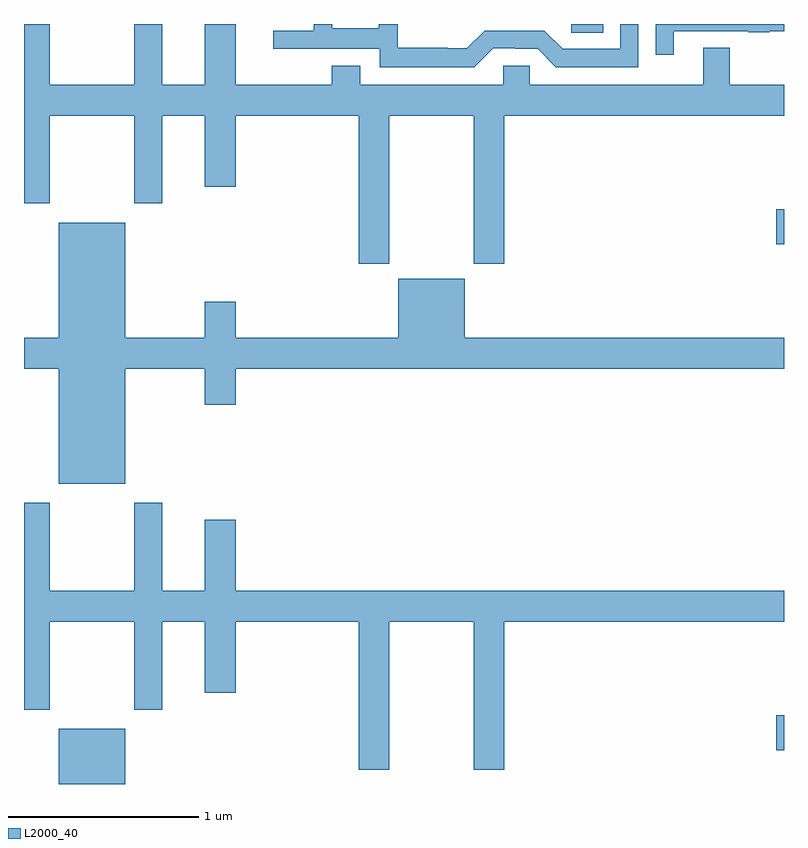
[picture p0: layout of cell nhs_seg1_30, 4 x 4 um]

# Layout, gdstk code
import gdstk
lib = gdstk.Library(unit=1e-6, precision=1e-09)
def R(c, l, rs):  # rectangles x0, y0, x1, y1
    for r in rs: c.add(gdstk.rectangle(r[:2], r[2:], *l))
def P(c, l, *ps):  # polygons
    for p in ps: c.add(gdstk.Polygon(p, *l))
L2000_40 = (2000, 40)

nhs_seg1_30 = lib.new_cell('nhs_seg1_30')
R(nhs_seg1_30, L2000_40, [(111.182,564.199,111.532,564.49), (114.96,564.377,115,564.56), (114.96,567.041,115,567.224), (113.88,568.153,114.048,568.199)])
P(nhs_seg1_30, L2000_40, [(113.469,568.071),(113.585,568.071),(113.585,568.068),(113.703,568.068),(113.799,567.972),(114.234,567.972),(114.234,568.199),(114.138,568.199),(114.138,568.068),(113.835,568.068),(113.739,568.164),(113.424,568.164),(113.331,568.071),(113.231,568.071),(113.231,568.075),(112.968,568.075),(112.968,568.199),(112.867,568.199),(112.867,568.177),(112.623,568.177),(112.623,568.199),(112.524,568.199),(112.524,568.164),(112.311,568.164),(112.311,568.068),(112.872,568.068),(112.872,567.971),(113.369,567.971)],
  [(112.923,567.716),(113.368,567.716),(113.368,566.937),(113.528,566.937),(113.528,567.716),(115,567.716),(115,567.88),(114.715,567.88),(114.715,568.075),(114.575,568.075),(114.575,567.88),(113.661,567.88),(113.661,567.978),(113.523,567.978),(113.523,567.88),(112.771,567.88),(112.771,567.979),(112.619,567.979),(112.619,567.88),(112.114,567.88),(112.114,568.199),(111.95,568.199),(111.95,567.88),(111.727,567.88),(111.727,568.199),(111.58,568.199),(111.58,567.88),(111.135,567.88),(111.135,568.199),(111,568.199),(111,567.255),(111.135,567.255),(111.135,567.716),(111.58,567.716),(111.58,567.255),(111.727,567.255),(111.727,567.716),(111.95,567.716),(111.95,567.342),(112.114,567.342),(112.114,567.716),(112.763,567.716),(112.763,566.937),(112.923,566.937)],
  [(114.421,568.161),(114.811,568.161),(114.811,568.156),(114.923,568.156),(114.923,568.161),(115,568.161),(115,568.199),(114.325,568.199),(114.325,568.038),(114.421,568.038)],
  [(111.532,566.384),(111.95,566.384),(111.95,566.196),(112.114,566.196),(112.114,566.384),(115,566.384),(115,566.548),(113.32,566.548),(113.32,566.857),(112.97,566.857),(112.97,566.548),(112.114,566.548),(112.114,566.737),(111.95,566.737),(111.95,566.548),(111.532,566.548),(111.532,567.154),(111.182,567.154),(111.182,566.548),(111,566.548),(111,566.384),(111.182,566.384),(111.182,565.778),(111.532,565.778)],
  [(112.923,565.052),(113.368,565.052),(113.368,564.273),(113.528,564.273),(113.528,565.052),(115,565.052),(115,565.216),(112.114,565.216),(112.114,565.591),(111.95,565.591),(111.95,565.216),(111.727,565.216),(111.727,565.678),(111.58,565.678),(111.58,565.216),(111.135,565.216),(111.135,565.678),(111,565.678),(111,564.591),(111.135,564.591),(111.135,565.052),(111.58,565.052),(111.58,564.591),(111.727,564.591),(111.727,565.052),(111.95,565.052),(111.95,564.678),(112.114,564.678),(112.114,565.052),(112.763,565.052),(112.763,564.273),(112.923,564.273)])

lib.write_gds('nhs_seg1_30.gds')
